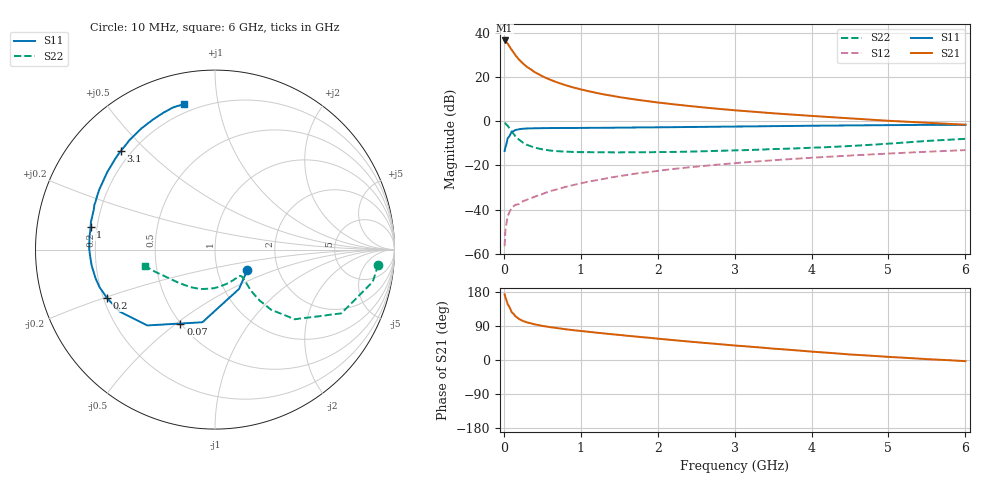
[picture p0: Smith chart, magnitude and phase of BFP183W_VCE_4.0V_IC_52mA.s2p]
! Infineon Technologies  Discrete & RF Semiconductors
! BFP183W
! VCE =  4.0 V,  IC =  52 mA
! Common Emitter S-Parameters:  Jan 2017
# GHz  S  MA  R  50
!  f  S11  S21  S12  S22
! GHz  MAG  ANG  MAG  ANG  MAG  ANG  MAG  ANG
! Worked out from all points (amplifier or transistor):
!   77 points, 10 MHz to 6 GHz, reference 50 ohm
!   highest |S21| = 36.5 dB at 10 MHz (marker M1)
!   |S21| within 3 dB of that: start of sweep to 78.2 MHz
!   unconditionally stable (mu >= 1): 506 MHz to 3.478 GHz
!   at 130 MHz: K = 0.46, MSG = 34.6 dB, |S12| = -38.3 dB
!   at 2.2 GHz: K = 1.10, MAG = 12.7 dB, |S12| = -21.6 dB
!   at 6 GHz: K = 0.87, MSG = 5.7 dB, |S12| = -13.0 dB
!   S11 on the Smith chart (normalised r, x): 10 MHz: 1.40, -0.33; 70 MHz: 0.50, -0.52; 200 MHz: 0.21, -0.20; 1 GHz: 0.17, +0.09; 3.1 GHz: 0.16, +0.42; 6 GHz: 0.15, +0.80
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0.01  0.2127 -31.7  66.77 173.3  0.0015 90.3  0.9132 -5.3
0.02  0.257 -58.7  65.15 165.7  0.0033 91.8  0.897 -11.5
0.05  0.4107 -99.8  56.63 147.2  0.0071 64.1  0.7882 -26.8
0.07  0.4548 -115.1  49.82 140.5  0.0086 59.4  0.7041 -31.6
0.1  0.5666 -131.8  41.38 126.7  0.0109 54.8  0.5902 -41.1
0.15  0.6327 -146.8  31.09 115.4  0.0129 48.7  0.4574 -47.0
0.2  0.6597 -155.9  24.42 108.0  0.0134 50.2  0.379 -48.7
0.25  0.6765 -162.0  20.02 102.9  0.0156 50.5  0.327 -48.9
0.3  0.6843 -166.4  16.89 99.3  0.0168 51.3  0.2926 -48.4
0.4  0.693 -172.6  12.9 93.9  0.0196 55.4  0.2521 -46.8
0.5  0.6966 -176.9  10.37 90.0  0.0226 58.3  0.2313 -45.8
0.6  0.7006 179.8  8.686 86.8  0.0264 60.9  0.2177 -45.3
0.7  0.7014 176.9  7.452 84.0  0.029 64.3  0.21 -45.0
0.9  0.7026 171.7  5.8 78.8  0.036 66.0  0.2022 -46.7
1  0.7047 169.6  5.245 76.6  0.0394 66.3  0.1998 -47.7
1.1  0.7081 167.5  4.772 74.5  0.043 67.4  0.2 -48.9
1.5  0.7164 159.8  3.509 66.2  0.0572 68.2  0.1974 -56.0
2.1  0.7302 148.9  2.532 54.5  0.0793 66.3  0.2012 -70.8
3.1  0.7598 133.6  1.712 36.8  0.1163 61.1  0.2212 -99.7
4.1  0.7918 120.1  1.284 20.7  0.1528 54.4  0.255 -127.2
5.1  0.817 109.7  1.001 7.1  0.1892 47.3  0.3196 -152.7
6  0.8286 101.9  0.833 -3.0  0.2226 40.4  0.3998 -166.8
